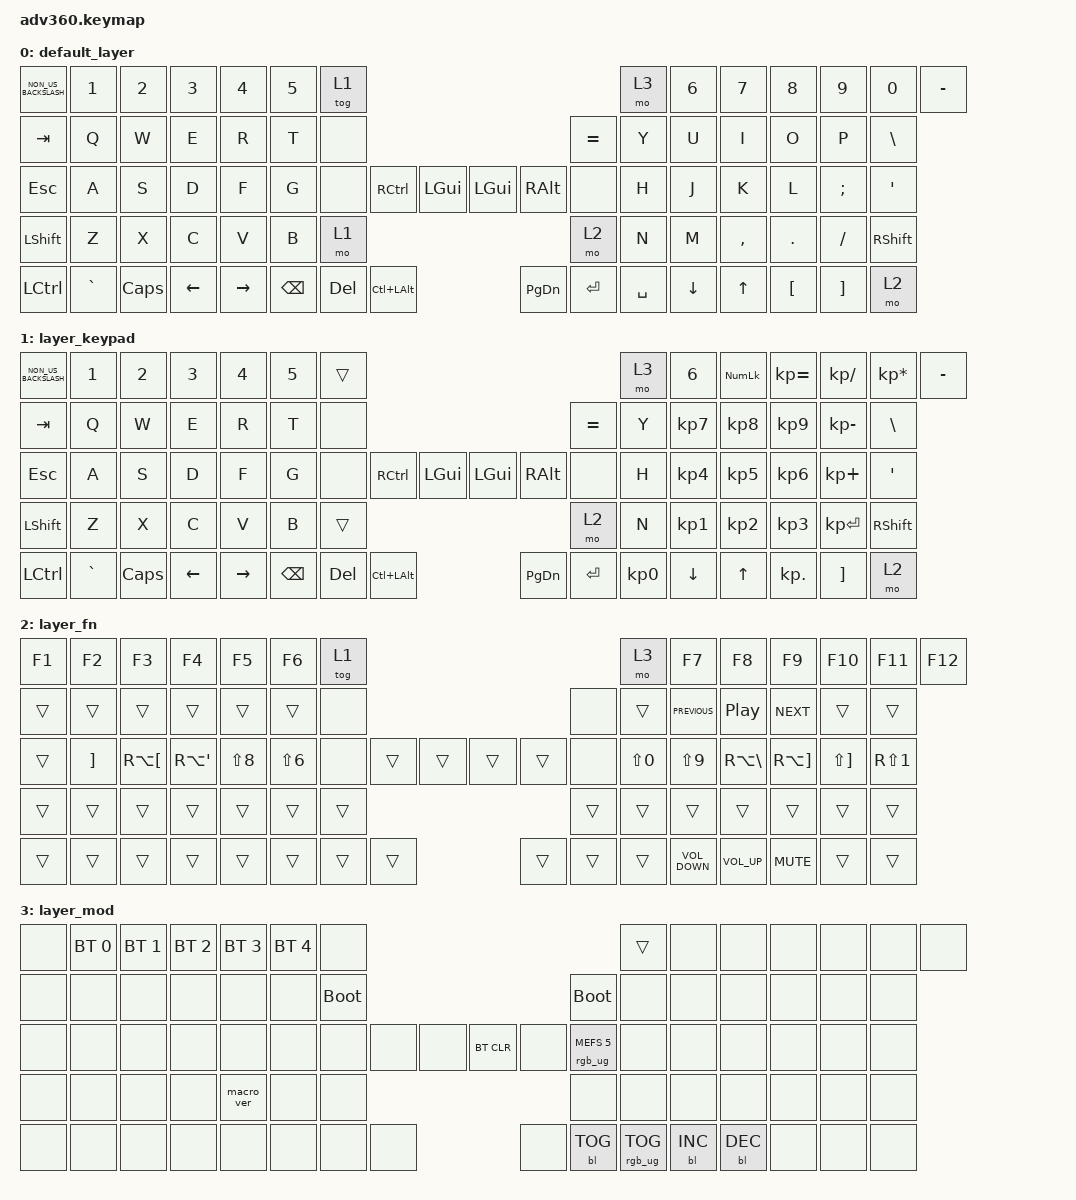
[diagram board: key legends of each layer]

/*
 * Copyright (c) 2020 The ZMK Contributors
 *
 * SPDX-License-Identifier: MIT
 */


/* THIS FILE WAS GENERATED!
 *
 * This file was generated automatically. You may or may not want to
 * edit it directly.
 */

#include <behaviors.dtsi>
#include <dt-bindings/zmk/keys.h>
#include <dt-bindings/zmk/bt.h>
#include <dt-bindings/zmk/rgb.h>
#include <dt-bindings/zmk/backlight.h>

/ {
  behaviors {
    #include "macros.dtsi"
    #include "version.dtsi"

    hm: homerow_mods {
        compatible = "zmk,behavior-hold-tap";
        label = "HOMEROW_MODS";
        #binding-cells = <2>;
        tapping-term-ms = <200>;
        quick_tap_ms = <175>;
        flavor = "tap-preferred";
        bindings = <&kp>, <&kp>;
    };
  };

    keymap {
        compatible = "zmk,keymap";


        default_layer {
            bindings = <
 &kp NON_US_BACKSLASH     &kp N1    &kp N2    &kp N3     &kp N4  &kp N5              &tog 1                                                                     &mo 3  &kp N6    &kp N7     &kp N8    &kp N9    &kp N0  &kp MINUS
              &kp TAB      &kp Q     &kp W     &kp E      &kp R   &kp T               &none                                                                 &kp EQUAL   &kp Y     &kp U      &kp I     &kp O     &kp P   &kp BSLH
              &kp ESC      &kp A     &kp S     &kp D      &kp F   &kp G               &none  &kp RCTRL      &kp LGUI                   &kp LGUI   &kp RALT      &none   &kp H     &kp J      &kp K     &kp L  &kp SEMI    &kp SQT
            &kp LSHFT      &kp Z     &kp X     &kp C      &kp V   &kp B                                        &mo 1                      &mo 2                         &kp N     &kp M  &kp COMMA   &kp DOT  &kp FSLH  &kp RSHFT
            &kp LCTRL  &kp GRAVE  &kp CAPS  &kp LEFT  &kp RIGHT                    &kp BSPC    &kp DEL  &kp LC(LALT)                  &kp PG_DN  &kp ENTER  &kp SPACE          &kp DOWN     &kp UP  &kp LBKT  &kp RBKT      &mo 2
            >;
        };

        layer_keypad {
            bindings = <
 &kp NON_US_BACKSLASH     &kp N1    &kp N2    &kp N3     &kp N4  &kp N5              &trans                                                                     &mo 3  &kp N6  &kp KP_NUM  &kp KP_EQUAL  &kp KP_DIVIDE  &kp KP_MULTIPLY  &kp MINUS
              &kp TAB      &kp Q     &kp W     &kp E      &kp R   &kp T               &none                                                                 &kp EQUAL   &kp Y   &kp KP_N7     &kp KP_N8      &kp KP_N9     &kp KP_MINUS   &kp BSLH
              &kp ESC      &kp A     &kp S     &kp D      &kp F   &kp G               &none  &kp RCTRL      &kp LGUI                   &kp LGUI   &kp RALT      &none   &kp H   &kp KP_N4     &kp KP_N5      &kp KP_N6      &kp KP_PLUS    &kp SQT
            &kp LSHFT      &kp Z     &kp X     &kp C      &kp V   &kp B                                       &trans                      &mo 2                         &kp N   &kp KP_N1     &kp KP_N2      &kp KP_N3     &kp KP_ENTER  &kp RSHFT
            &kp LCTRL  &kp GRAVE  &kp CAPS  &kp LEFT  &kp RIGHT                    &kp BSPC    &kp DEL  &kp LC(LALT)                  &kp PG_DN  &kp ENTER  &kp KP_N0            &kp DOWN        &kp UP     &kp KP_DOT         &kp RBKT      &mo 2
            >;
        };

        layer_fn {
            bindings = <
 &kp F1    &kp F2        &kp F3       &kp F4      &kp F5      &kp F6            &tog 1                                                   &mo 3      &kp F7             &kp F8            &kp F9       &kp F10       &kp F11     &kp F12
 &trans    &trans        &trans       &trans      &trans      &trans             &none                                                   &none      &trans     &kp C_PREVIOUS  &kp C_PLAY_PAUSE    &kp C_NEXT        &trans      &trans
 &trans  &kp RBKT  &kp RA(LBKT)  &kp RA(SQT)  &kp LS(N8)  &kp LS(N6)             &none  &trans  &trans                  &trans  &trans   &none  &kp LS(N0)         &kp LS(N9)      &kp RA(BSLH)  &kp RA(RBKT)  &kp LS(RBKT)  &kp RS(N1)
 &trans    &trans        &trans       &trans      &trans      &trans                            &trans                  &trans                      &trans             &trans            &trans        &trans        &trans      &trans
 &trans    &trans        &trans       &trans      &trans                        &trans  &trans  &trans                  &trans  &trans  &trans              &kp C_VOLUME_DOWN   &kp C_VOLUME_UP    &kp C_MUTE        &trans      &trans
            >;
        };

        layer_mod {
            bindings = <
  &none  &bt BT_SEL 0  &bt BT_SEL 1  &bt BT_SEL 2  &bt BT_SEL 3  &bt BT_SEL 4                  &none                                                                          &trans   &none       &none       &none   &none   &none   &none
  &none         &none         &none         &none         &none         &none            &bootloader                                                                     &bootloader   &none       &none       &none   &none   &none   &none
  &none         &none         &none         &none         &none         &none                  &none   &none   &none                  &bt BT_CLR       &none  &rgb_ug RGB_MEFS_CMD 5   &none       &none       &none   &none   &none   &none
  &none         &none         &none         &none    &macro_ver         &none                                  &none                       &none                                       &none       &none       &none   &none   &none   &none
  &none         &none         &none         &none         &none                                &none   &none   &none                       &none  &bl BL_TOG         &rgb_ug RGB_TOG          &bl BL_INC  &bl BL_DEC   &none   &none   &none
            >;
        };

    };
};
